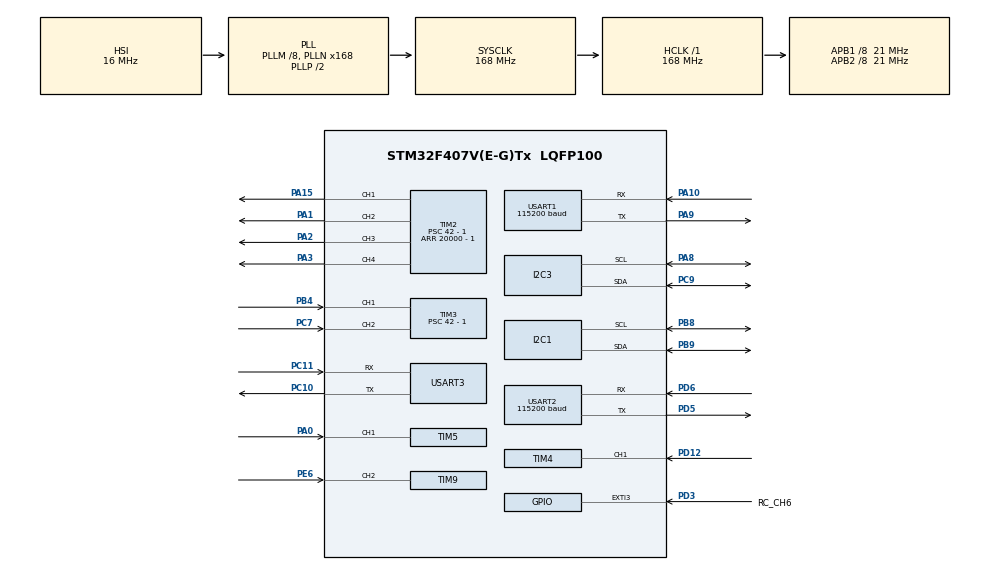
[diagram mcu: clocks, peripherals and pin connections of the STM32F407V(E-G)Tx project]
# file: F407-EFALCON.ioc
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Dma.Request0=USART2_RX
Dma.Request1=USART3_RX
Dma.Request2=USART1_RX
Dma.USART1_RX.2.Direction=DMA_PERIPH_TO_MEMORY
Dma.USART1_RX.2.FIFOMode=DMA_FIFOMODE_DISABLE
Dma.USART1_RX.2.Instance=DMA2_Stream2
Dma.USART1_RX.2.MemDataAlignment=DMA_MDATAALIGN_BYTE
Dma.USART1_RX.2.MemInc=DMA_MINC_ENABLE
Dma.USART1_RX.2.Mode=DMA_CIRCULAR
Dma.USART1_RX.2.PeriphDataAlignment=DMA_PDATAALIGN_BYTE
Dma.USART1_RX.2.PeriphInc=DMA_PINC_DISABLE
Dma.USART1_RX.2.Priority=DMA_PRIORITY_LOW
Dma.USART2_RX.0.Direction=DMA_PERIPH_TO_MEMORY
Dma.USART2_RX.0.FIFOMode=DMA_FIFOMODE_DISABLE
Dma.USART2_RX.0.Instance=DMA1_Stream5
Dma.USART2_RX.0.MemDataAlignment=DMA_MDATAALIGN_BYTE
Dma.USART2_RX.0.MemInc=DMA_MINC_ENABLE
Dma.USART2_RX.0.Mode=DMA_CIRCULAR
Dma.USART2_RX.0.PeriphDataAlignment=DMA_PDATAALIGN_BYTE
Dma.USART2_RX.0.PeriphInc=DMA_PINC_DISABLE
Dma.USART2_RX.0.Priority=DMA_PRIORITY_LOW
Dma.USART3_RX.1.Direction=DMA_PERIPH_TO_MEMORY
Dma.USART3_RX.1.FIFOMode=DMA_FIFOMODE_DISABLE
Dma.USART3_RX.1.Instance=DMA1_Stream1
Dma.USART3_RX.1.MemDataAlignment=DMA_MDATAALIGN_BYTE
Dma.USART3_RX.1.MemInc=DMA_MINC_ENABLE
Dma.USART3_RX.1.Mode=DMA_CIRCULAR
Dma.USART3_RX.1.PeriphDataAlignment=DMA_PDATAALIGN_BYTE
Dma.USART3_RX.1.PeriphInc=DMA_PINC_DISABLE
Dma.USART3_RX.1.Priority=DMA_PRIORITY_LOW
Mcu.Family=STM32F4
Mcu.Name=STM32F407V(E-G)Tx
Mcu.Package=LQFP100
NVIC.DMA1_Stream1_IRQn=true\:0\:0\:false\:false\:true\:false\:true
NVIC.DMA1_Stream5_IRQn=true\:0\:0\:false\:false\:true\:false\:true
NVIC.DMA2_Stream2_IRQn=true\:0\:0\:false\:false\:true\:false\:true
NVIC.EXTI3_IRQn=true\:0\:0\:false\:false\:true\:true\:true
NVIC.PriorityGroup=NVIC_PRIORITYGROUP_4
NVIC.TIM1_BRK_TIM9_IRQn=true\:0\:0\:false\:false\:true\:true\:true
NVIC.TIM1_UP_TIM10_IRQn=true\:2\:0\:true\:false\:true\:true\:true
NVIC.TIM2_IRQn=true\:0\:0\:false\:false\:true\:true\:true
NVIC.TIM3_IRQn=true\:0\:0\:false\:false\:true\:true\:true
NVIC.TIM4_IRQn=true\:0\:0\:false\:false\:true\:true\:true
NVIC.TIM5_IRQn=true\:0\:0\:true\:false\:true\:true\:true
NVIC.TIM7_IRQn=true\:1\:0\:true\:false\:true\:true\:true
PA0-WKUP.GPIO_PuPd=GPIO_NOPULL
PA0-WKUP.Signal=S_TIM5_CH1
PA1.GPIO_PuPd=GPIO_NOPULL
PA1.Signal=S_TIM2_CH2
PA10.GPIO_PuPd=GPIO_PULLUP
PA10.Mode=Asynchronous
PA10.Signal=USART1_RX
PA13.Mode=Serial_Wire
PA13.Signal=SYS_JTMS-SWDIO
PA14.Mode=Serial_Wire
PA14.Signal=SYS_JTCK-SWCLK
PA15.GPIO_PuPd=GPIO_NOPULL
PA15.Signal=S_TIM2_CH1_ETR
PA2.GPIO_PuPd=GPIO_NOPULL
PA2.Signal=S_TIM2_CH3
PA3.GPIO_PuPd=GPIO_NOPULL
PA3.Signal=S_TIM2_CH4
PA8.Mode=I2C
PA8.Signal=I2C3_SCL
PA9.Mode=Asynchronous
PA9.Signal=USART1_TX
PB4.GPIO_PuPd=GPIO_NOPULL
PB4.Signal=S_TIM3_CH1
PB8.Mode=I2C
PB8.Signal=I2C1_SCL
PB9.Mode=I2C
PB9.Signal=I2C1_SDA
PC10.Mode=Asynchronous
PC10.Signal=USART3_TX
PC11.Mode=Asynchronous
PC11.Signal=USART3_RX
PC7.GPIO_PuPd=GPIO_NOPULL
PC7.Signal=S_TIM3_CH2
PC9.Mode=I2C
PC9.Signal=I2C3_SDA
PD12.GPIO_PuPd=GPIO_NOPULL
PD12.Signal=S_TIM4_CH1
PD3.GPIO_Label=RC_CH6
PD3.GPIO_ModeDefaultEXTI=GPIO_MODE_IT_RISING_FALLING
PD3.GPIO_PuPd=GPIO_PULLDOWN
PD3.Signal=GPXTI3
PD5.Mode=Asynchronous
PD5.Signal=USART2_TX
PD6.GPIO_PuPd=GPIO_PULLUP
PD6.Mode=Asynchronous
PD6.Signal=USART2_RX
PE6.GPIO_PuPd=GPIO_NOPULL
PE6.Signal=S_TIM9_CH2
PH0-OSC_IN.Mode=HSE-External-Oscillator
PH0-OSC_IN.Signal=RCC_OSC_IN
PH1-OSC_OUT.Mode=HSE-External-Oscillator
PH1-OSC_OUT.Signal=RCC_OSC_OUT
ProjectManager.HeapSize=0x200
ProjectManager.StackSize=0x400
ProjectManager.TargetToolchain=STM32CubeIDE
RCC.48MHZClocksFreq_Value=84000000
RCC.AHBFreq_Value=168000000
RCC.APB1CLKDivider=RCC_HCLK_DIV8
RCC.APB1Freq_Value=21000000
RCC.APB1TimFreq_Value=42000000
RCC.APB2CLKDivider=RCC_HCLK_DIV8
RCC.APB2Freq_Value=21000000
RCC.APB2TimFreq_Value=42000000
RCC.CortexFreq_Value=168000000
RCC.HCLKFreq_Value=168000000
RCC.HSE_VALUE=16000000
RCC.HSI_VALUE=16000000
RCC.LSE_VALUE=32768
RCC.PLLM=8
RCC.PLLN=168
RCC.SYSCLKFreq_VALUE=168000000
RCC.SYSCLKSource=RCC_SYSCLKSOURCE_PLLCLK
RCC.VCOOutputFreq_Value=336000000
SH.S_TIM2_CH1_ETR.0=TIM2_CH1,PWM Generation1 CH1
SH.S_TIM2_CH2.0=TIM2_CH2,PWM Generation2 CH2
SH.S_TIM2_CH3.0=TIM2_CH3,PWM Generation3 CH3
SH.S_TIM2_CH4.0=TIM2_CH4,PWM Generation4 CH4
SH.S_TIM3_CH1.0=TIM3_CH1,Input_Capture1_from_TI1
SH.S_TIM3_CH2.0=TIM3_CH2,Input_Capture2_from_TI2
SH.S_TIM4_CH1.0=TIM4_CH1,Input_Capture1_from_TI1
SH.S_TIM5_CH1.0=TIM5_CH1,Input_Capture1_from_TI1
SH.S_TIM9_CH2.0=TIM9_CH2,Input_Capture2_from_TI2
TIM10.Period=15 - 1
TIM10.Prescaler=42000 - 1
TIM2.Channel-PWM\ Generation1\ CH1=TIM_CHANNEL_1
TIM2.Channel-PWM\ Generation2\ CH2=TIM_CHANNEL_2
TIM2.Channel-PWM\ Generation3\ CH3=TIM_CHANNEL_3
TIM2.Channel-PWM\ Generation4\ CH4=TIM_CHANNEL_4
TIM2.Period=20000 - 1
TIM2.Prescaler=42 - 1
TIM2.Pulse-PWM\ Generation1\ CH1=2000 - 1
TIM2.Pulse-PWM\ Generation2\ CH2=2000 - 1
TIM2.Pulse-PWM\ Generation3\ CH3=2000 - 1
TIM2.Pulse-PWM\ Generation4\ CH4=2000 - 1
TIM3.AutoReloadPreload=TIM_AUTORELOAD_PRELOAD_DISABLE
TIM3.Channel-Input_Capture1_from_TI1=TIM_CHANNEL_1
TIM3.Channel-Input_Capture2_from_TI2=TIM_CHANNEL_2
TIM3.Period=0xFFFF
TIM3.Prescaler=42 - 1
TIM4.Channel-Input_Capture1_from_TI1=TIM_CHANNEL_1
TIM4.Period=0xFFFF
TIM4.Prescaler=42 - 1
TIM5.Channel-Input_Capture1_from_TI1=TIM_CHANNEL_1
TIM5.Period=0xFFFF
TIM5.Prescaler=42 - 1
TIM6.Period=0xFFFF
TIM6.Prescaler=42 - 1
TIM7.Period=10
TIM7.Prescaler=42000 - 1
TIM9.Channel-Input_Capture2_from_TI2=TIM_CHANNEL_2
TIM9.Period=0xFFFF
TIM9.Prescaler=42 - 1
USART1.BaudRate=115200
USART1.VirtualMode=VM_ASYNC
USART2.BaudRate=115200
USART2.VirtualMode=VM_ASYNC
USART3.VirtualMode=VM_ASYNC
VP_TIM10_VS_ClockSourceINT.Mode=Enable_Timer
VP_TIM2_VS_ClockSourceINT.Mode=Internal
VP_TIM3_VS_ClockSourceINT.Mode=Internal
VP_TIM4_VS_ClockSourceINT.Mode=Internal
VP_TIM5_VS_ClockSourceINT.Mode=Internal
VP_TIM6_VS_ClockSourceINT.Mode=Enable_Timer
VP_TIM7_VS_ClockSourceINT.Mode=Enable_Timer
VP_TIM9_VS_ClockSourceINT.Mode=Internal
board=custom

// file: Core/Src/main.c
/* USER CODE BEGIN Header */
/**
  ******************************************************************************
  * @file           : main.c
  * @brief          : Main program body
  ******************************************************************************
  * @attention
  *
  * <h2><center>&copy; Copyright (c) 2020 STMicroelectronics.
  * All rights reserved.</center></h2>
  *
  * This software component is licensed by ST under BSD 3-Clause license,
  * the "License"; You may not use this file except in compliance with the
  * License. You may obtain a copy of the License at:
  *                        opensource.org/licenses/BSD-3-Clause
  *
  ******************************************************************************
  */
/* USER CODE END Header */
#include "main.h"

/* USER CODE BEGIN Includes */
#include <string.h>
#include <stdio.h>
#include <stdlib.h>
#include <stdbool.h>

#include "bmp280.h"
#include "Kalman.h"
#include "HMC5883L.h"
#include "pid.h"
#include "I2Cdev.h"
/* USER CODE END Includes */

/* USER CODE BEGIN PD */
#define ESC_PWM_MIN 1000
#define ESC_PWM_MAX 2000
/* USER CODE END PD */

I2C_HandleTypeDef hi2c1;
I2C_HandleTypeDef hi2c3;

TIM_HandleTypeDef htim2;
TIM_HandleTypeDef htim3;
TIM_HandleTypeDef htim4;
TIM_HandleTypeDef htim5;
TIM_HandleTypeDef htim6;
TIM_HandleTypeDef htim7;
TIM_HandleTypeDef htim9;
TIM_HandleTypeDef htim10;

UART_HandleTypeDef huart1;
UART_HandleTypeDef huart2;
UART_HandleTypeDef huart3;
DMA_HandleTypeDef hdma_usart1_rx;
DMA_HandleTypeDef hdma_usart2_rx;
DMA_HandleTypeDef hdma_usart3_rx;

/* USER CODE BEGIN PV */
BMP280_HandleTypedef bmp280;
uint8_t buffer[200];
uint16_t strSize;
uint8_t IMUBuffer[16];

bool GPSDataStatus;
bool IMUDataStatus;
int dutyCycle = ESC_PWM_MIN;
float pressureRef = 0;
bool bme280p;
bool RisingEdge = 1, FallingEdge = 0;
int16_t x_heading, y_heading, z_heading;
float altitude;
char latitude[20];
char longitude[20];

uint8_t gps_rx_buf[GPS_BUF_SIZE];
uint8_t GPSBuffer[GPS_BUF_SIZE];

uint32_t w_output[4];
uint8_t SerialData[10];
Kalman_t kalman_altitude;

char lat[20];
char lat_a;
char lon[20];
char lon_a;

PWM_DATA RC_CH1, RC_CH2, RC_CH3, RC_CH4, RC_CH5, RC_CH6;

IMU_DATA IMU_Data;
float pitchRef = 0, yawRef = 0, rollRef = 0;
FLY_MODE fly_mode;

/* USER CODE END PV */

void SystemClock_Config(void);
static void MX_GPIO_Init(void);
static void MX_DMA_Init(void);
static void MX_I2C1_Init(void);
static void MX_USART1_UART_Init(void);
static void MX_USART3_UART_Init(void);
static void MX_USART2_UART_Init(void);
static void MX_TIM3_Init(void);
static void MX_I2C3_Init(void);
static void MX_TIM2_Init(void);
static void MX_TIM4_Init(void);
static void MX_TIM5_Init(void);
static void MX_TIM9_Init(void);
static void MX_TIM7_Init(void);
static void MX_TIM6_Init(void);
static void MX_TIM10_Init(void);
/* USER CODE BEGIN PFP */

void ESCInit();
void setPWM(TIM_HandleTypeDef htim, uint32_t channel, uint32_t dutyCycle);
void BMPInit();
void IMUInit();
void GPSInit();
void RemoteInit();
void CompassInit();
void setPWM_DATA(PWM_DATA* pwm_data);
void initPWM_DATA(PWM_DATA* pwm_data, TIM_HandleTypeDef *htim, uint32_t channel);
void getIMUData(IMU_DATA *IMU_Data);
void getGPSLatLon();
void getCompass();
void getBMPAltitude();
/* USER CODE END PFP */

int main(void)
{

  /* MCU Configuration--------------------------------------------------------*/

  /* Reset of all peripherals, Initializes the Flash interface and the Systick. */
  HAL_Init();

  /* Configure the system clock */
  SystemClock_Config();

  /* Initialize all configured peripherals */
  MX_GPIO_Init();
  MX_DMA_Init();
  MX_I2C1_Init();
  MX_USART1_UART_Init();
  MX_USART3_UART_Init();
  MX_USART2_UART_Init();
  MX_TIM3_Init();
  MX_I2C3_Init();
  MX_TIM2_Init();
  MX_TIM4_Init();
  MX_TIM5_Init();
  MX_TIM9_Init();
  MX_TIM7_Init();
  MX_TIM6_Init();
  MX_TIM10_Init();
  /* USER CODE BEGIN 2 */

  /*PIDControl(&PIDRoll, (float)IMU_Data->ROLL, RC_CH2.DutyCycleVal);
  PIDControl(&PIDPitch, (float)IMU_Data->PITCH, RC_CH1.DutyCycleVal);
  PIDControl(&PIDYaw, (float)IMU_Data->YAW, RC_CH4.DutyCycleVal);*/

  //init sensor

  CompassInit();
  BMPInit();
  GPSInit();
  IMUInit();

  //Remote init
  RemoteInit();

  //Inisialisasi PID
  //ROLL
  PIDInit(&PIDRoll, 0.0300, 0.0080, 0.0065, 0.01);//d=0.01 p=0.045 i = 0.4
  //PITCH
  PIDInit(&PIDPitch,  0.0300, 0.0080, 0.0065, 0.01); //kp = 1, kd = 1, ki = 1, timesampling = 0.04
  //YAW
  PIDInit(&PIDYaw, 0.125f, 0.0f, 0.005f, 0.01); //kp = 1, kd = 1, ki = 1, timesampling = 0.04

  ESCInit();

  HAL_TIM_Base_Start_IT(&htim10);

  HAL_UART_Receive_DMA(&huart1, SerialData, 10);

  strSize = sprintf((char*)buffer, "Mulai\r\n");
  HAL_UART_Transmit(&huart1, buffer, strSize, 10);
  /* USER CODE END 2 */

  /* Infinite loop */
  /* USER CODE BEGIN WHILE */
  while (1) {
	  if(inputFlyMode >= 1000 && inputFlyMode <= 1050 && fly_mode != FLY_MODE_OFF){
		  HAL_TIM_Base_Stop_IT(&htim7);
		  fly_mode = FLY_MODE_OFF;
		  PIDReset(&PIDRoll);
		  PIDReset(&PIDPitch);
		  PIDReset(&PIDYaw);
		  pulseESC1 = pulseESC2 = pulseESC3 = pulseESC4 = 1000;
		  strSize = sprintf((char*)buffer, "Wahana Mode Off\r\n");
		  HAL_UART_Transmit(&huart1, buffer, strSize, 10);
	  } else if(inputFlyMode >= 1450 && inputFlyMode <= 1550 && fly_mode != FLY_MODE_ON){
		  fly_mode = FLY_MODE_ON;
		  strSize = sprintf((char*)buffer, "Wahana Mode On\r\n");
		  HAL_UART_Transmit(&huart1, buffer, strSize, 10);
		  HAL_TIM_Base_Start_IT(&htim7);
	  } else if(inputFlyMode >= 1900 && inputFlyMode <= 2000 && fly_mode != FLY_MODE_HOLD){
		  fly_mode = FLY_MODE_HOLD;
		  strSize = sprintf((char*)buffer, "Wahana Mode Hold\r\n");
		  HAL_UART_Transmit(&huart1, buffer, strSize, 10);
	  }

	  //strSize = sprintf((char*)buffer, "ESC1: %d\tESC2: %d\tESC3: %d\tESC4: %d\r\n", pulseESC1, pulseESC2, pulseESC3, pulseESC4);
	  //HAL_UART_Transmit(&huart1, buffer, strSize, 100);

	  //strSize = sprintf((char*)buffer, "YAW: %.2f\tPitch: %.2f\tRoll: %.2f\tThrottle: %d\r\n", inputYaw, inputPitch, inputRoll, inputThrottle);
	  //HAL_UART_Transmit(&huart1, buffer, strSize, 100);

	  //strSize = sprintf((char*)buffer, "YAW: %f\tPITCH: %f\tROLL: %f\r\n", sensorYaw, sensorPitch, sensorRoll);
	  //HAL_UART_Transmit(&huart1, buffer, strSize, 10);

	  getIMUData(&IMU_Data);
    /* USER CODE END WHILE */

  }
}

void SystemClock_Config(void)
{
  RCC_OscInitTypeDef RCC_OscInitStruct = {0};
  RCC_ClkInitTypeDef RCC_ClkInitStruct = {0};

  /** Configure the main internal regulator output voltage
  */
  __HAL_RCC_PWR_CLK_ENABLE();
  __HAL_PWR_VOLTAGESCALING_CONFIG(PWR_REGULATOR_VOLTAGE_SCALE1);
  /** Initializes the RCC Oscillators according to the specified parameters
  * in the RCC_OscInitTypeDef structure.
  */
  RCC_OscInitStruct.OscillatorType = RCC_OSCILLATORTYPE_HSI;
  RCC_OscInitStruct.HSIState = RCC_HSI_ON;
  RCC_OscInitStruct.HSICalibrationValue = RCC_HSICALIBRATION_DEFAULT;
  RCC_OscInitStruct.PLL.PLLState = RCC_PLL_ON;
  RCC_OscInitStruct.PLL.PLLSource = RCC_PLLSOURCE_HSI;
  RCC_OscInitStruct.PLL.PLLM = 8;
  RCC_OscInitStruct.PLL.PLLN = 168;
  RCC_OscInitStruct.PLL.PLLP = RCC_PLLP_DIV2;
  RCC_OscInitStruct.PLL.PLLQ = 4;
  if (HAL_RCC_OscConfig(&RCC_OscInitStruct) != HAL_OK)
  {
    Error_Handler();
  }
  /** Initializes the CPU, AHB and APB buses clocks
  */
  RCC_ClkInitStruct.ClockType = RCC_CLOCKTYPE_HCLK|RCC_CLOCKTYPE_SYSCLK
                              |RCC_CLOCKTYPE_PCLK1|RCC_CLOCKTYPE_PCLK2;
  RCC_ClkInitStruct.SYSCLKSource = RCC_SYSCLKSOURCE_PLLCLK;
  RCC_ClkInitStruct.AHBCLKDivider = RCC_SYSCLK_DIV1;
  RCC_ClkInitStruct.APB1CLKDivider = RCC_HCLK_DIV8;
  RCC_ClkInitStruct.APB2CLKDivider = RCC_HCLK_DIV8;

  if (HAL_RCC_ClockConfig(&RCC_ClkInitStruct, FLASH_LATENCY_5) != HAL_OK)
  {
    Error_Handler();
  }
}

static void MX_I2C1_Init(void)
{

  hi2c1.Instance = I2C1;
  hi2c1.Init.ClockSpeed = 100000;
  hi2c1.Init.DutyCycle = I2C_DUTYCYCLE_2;
  hi2c1.Init.OwnAddress1 = 0;
  hi2c1.Init.AddressingMode = I2C_ADDRESSINGMODE_7BIT;
  hi2c1.Init.DualAddressMode = I2C_DUALADDRESS_DISABLE;
  hi2c1.Init.OwnAddress2 = 0;
  hi2c1.Init.GeneralCallMode = I2C_GENERALCALL_DISABLE;
  hi2c1.Init.NoStretchMode = I2C_NOSTRETCH_DISABLE;
  if (HAL_I2C_Init(&hi2c1) != HAL_OK)
  {
    Error_Handler();
  }

}

static void MX_I2C3_Init(void)
{

  hi2c3.Instance = I2C3;
  hi2c3.Init.ClockSpeed = 100000;
  hi2c3.Init.DutyCycle = I2C_DUTYCYCLE_2;
  hi2c3.Init.OwnAddress1 = 0;
  hi2c3.Init.AddressingMode = I2C_ADDRESSINGMODE_7BIT;
  hi2c3.Init.DualAddressMode = I2C_DUALADDRESS_DISABLE;
  hi2c3.Init.OwnAddress2 = 0;
  hi2c3.Init.GeneralCallMode = I2C_GENERALCALL_DISABLE;
  hi2c3.Init.NoStretchMode = I2C_NOSTRETCH_DISABLE;
  if (HAL_I2C_Init(&hi2c3) != HAL_OK)
  {
    Error_Handler();
  }

}

static void MX_TIM2_Init(void)
{

  TIM_ClockConfigTypeDef sClockSourceConfig = {0};
  TIM_MasterConfigTypeDef sMasterConfig = {0};
  TIM_OC_InitTypeDef sConfigOC = {0};

  htim2.Instance = TIM2;
  htim2.Init.Prescaler = 42 - 1;
  htim2.Init.CounterMode = TIM_COUNTERMODE_UP;
  htim2.Init.Period = 20000 - 1;
  htim2.Init.ClockDivision = TIM_CLOCKDIVISION_DIV1;
  htim2.Init.AutoReloadPreload = TIM_AUTORELOAD_PRELOAD_DISABLE;
  if (HAL_TIM_Base_Init(&htim2) != HAL_OK)
  {
    Error_Handler();
  }
  sClockSourceConfig.ClockSource = TIM_CLOCKSOURCE_INTERNAL;
  if (HAL_TIM_ConfigClockSource(&htim2, &sClockSourceConfig) != HAL_OK)
  {
    Error_Handler();
  }
  if (HAL_TIM_PWM_Init(&htim2) != HAL_OK)
  {
    Error_Handler();
  }
  sMasterConfig.MasterOutputTrigger = TIM_TRGO_RESET;
  sMasterConfig.MasterSlaveMode = TIM_MASTERSLAVEMODE_DISABLE;
  if (HAL_TIMEx_MasterConfigSynchronization(&htim2, &sMasterConfig) != HAL_OK)
  {
    Error_Handler();
  }
  sConfigOC.OCMode = TIM_OCMODE_PWM1;
  sConfigOC.Pulse = 2000 - 1;
  sConfigOC.OCPolarity = TIM_OCPOLARITY_HIGH;
  sConfigOC.OCFastMode = TIM_OCFAST_DISABLE;
  if (HAL_TIM_PWM_ConfigChannel(&htim2, &sConfigOC, TIM_CHANNEL_1) != HAL_OK)
  {
    Error_Handler();
  }
  if (HAL_TIM_PWM_ConfigChannel(&htim2, &sConfigOC, TIM_CHANNEL_2) != HAL_OK)
  {
    Error_Handler();
  }
  if (HAL_TIM_PWM_ConfigChannel(&htim2, &sConfigOC, TIM_CHANNEL_3) != HAL_OK)
  {
    Error_Handler();
  }
  if (HAL_TIM_PWM_ConfigChannel(&htim2, &sConfigOC, TIM_CHANNEL_4) != HAL_OK)
  {
    Error_Handler();
  }
  HAL_TIM_MspPostInit(&htim2);

}

static void MX_TIM3_Init(void)
{

  TIM_ClockConfigTypeDef sClockSourceConfig = {0};
  TIM_MasterConfigTypeDef sMasterConfig = {0};
  TIM_IC_InitTypeDef sConfigIC = {0};

  htim3.Instance = TIM3;
  htim3.Init.Prescaler = 42 - 1;
  htim3.Init.CounterMode = TIM_COUNTERMODE_UP;
  htim3.Init.Period = 0xFFFF;
  htim3.Init.ClockDivision = TIM_CLOCKDIVISION_DIV1;
  htim3.Init.AutoReloadPreload = TIM_AUTORELOAD_PRELOAD_DISABLE;
  if (HAL_TIM_Base_Init(&htim3) != HAL_OK)
  {
    Error_Handler();
  }
  sClockSourceConfig.ClockSource = TIM_CLOCKSOURCE_INTERNAL;
  if (HAL_TIM_ConfigClockSource(&htim3, &sClockSourceConfig) != HAL_OK)
  {
    Error_Handler();
  }
  if (HAL_TIM_IC_Init(&htim3) != HAL_OK)
  {
    Error_Handler();
  }
  sMasterConfig.MasterOutputTrigger = TIM_TRGO_RESET;
  sMasterConfig.MasterSlaveMode = TIM_MASTERSLAVEMODE_DISABLE;
  if (HAL_TIMEx_MasterConfigSynchronization(&htim3, &sMasterConfig) != HAL_OK)
  {
    Error_Handler();
  }
  sConfigIC.ICPolarity = TIM_INPUTCHANNELPOLARITY_RISING;
  sConfigIC.ICSelection = TIM_ICSELECTION_DIRECTTI;
  sConfigIC.ICPrescaler = TIM_ICPSC_DIV1;
  sConfigIC.ICFilter = 0;
  if (HAL_TIM_IC_ConfigChannel(&htim3, &sConfigIC, TIM_CHANNEL_1) != HAL_OK)
  {
    Error_Handler();
  }
  if (HAL_TIM_IC_ConfigChannel(&htim3, &sConfigIC, TIM_CHANNEL_2) != HAL_OK)
  {
    Error_Handler();
  }

}

static void MX_TIM4_Init(void)
{

  TIM_ClockConfigTypeDef sClockSourceConfig = {0};
  TIM_MasterConfigTypeDef sMasterConfig = {0};
  TIM_IC_InitTypeDef sConfigIC = {0};

  htim4.Instance = TIM4;
  htim4.Init.Prescaler = 42 - 1;
  htim4.Init.CounterMode = TIM_COUNTERMODE_UP;
  htim4.Init.Period = 0xFFFF;
  htim4.Init.ClockDivision = TIM_CLOCKDIVISION_DIV1;
  htim4.Init.AutoReloadPreload = TIM_AUTORELOAD_PRELOAD_DISABLE;
  if (HAL_TIM_Base_Init(&htim4) != HAL_OK)
  {
    Error_Handler();
  }
  sClockSourceConfig.ClockSource = TIM_CLOCKSOURCE_INTERNAL;
  if (HAL_TIM_ConfigClockSource(&htim4, &sClockSourceConfig) != HAL_OK)
  {
    Error_Handler();
  }
  if (HAL_TIM_IC_Init(&htim4) != HAL_OK)
  {
    Error_Handler();
  }
  sMasterConfig.MasterOutputTrigger = TIM_TRGO_RESET;
  sMasterConfig.MasterSlaveMode = TIM_MASTERSLAVEMODE_DISABLE;
  if (HAL_TIMEx_MasterConfigSynchronization(&htim4, &sMasterConfig) != HAL_OK)
  {
    Error_Handler();
  }
  sConfigIC.ICPolarity = TIM_INPUTCHANNELPOLARITY_RISING;
  sConfigIC.ICSelection = TIM_ICSELECTION_DIRECTTI;
  sConfigIC.ICPrescaler = TIM_ICPSC_DIV1;
  sConfigIC.ICFilter = 0;
  if (HAL_TIM_IC_ConfigChannel(&htim4, &sConfigIC, TIM_CHANNEL_1) != HAL_OK)
  {
    Error_Handler();
  }

}

static void MX_TIM5_Init(void)
{

  TIM_ClockConfigTypeDef sClockSourceConfig = {0};
  TIM_MasterConfigTypeDef sMasterConfig = {0};
  TIM_IC_InitTypeDef sConfigIC = {0};

  htim5.Instance = TIM5;
  htim5.Init.Prescaler = 42 - 1;
  htim5.Init.CounterMode = TIM_COUNTERMODE_UP;
  htim5.Init.Period = 0xFFFF;
  htim5.Init.ClockDivision = TIM_CLOCKDIVISION_DIV1;
  htim5.Init.AutoReloadPreload = TIM_AUTORELOAD_PRELOAD_DISABLE;
  if (HAL_TIM_Base_Init(&htim5) != HAL_OK)
  {
    Error_Handler();
  }
  sClockSourceConfig.ClockSource = TIM_CLOCKSOURCE_INTERNAL;
  if (HAL_TIM_ConfigClockSource(&htim5, &sClockSourceConfig) != HAL_OK)
  {
    Error_Handler();
  }
  if (HAL_TIM_IC_Init(&htim5) != HAL_OK)
  {
    Error_Handler();
  }
  sMasterConfig.MasterOutputTrigger = TIM_TRGO_RESET;
  sMasterConfig.MasterSlaveMode = TIM_MASTERSLAVEMODE_DISABLE;
  if (HAL_TIMEx_MasterConfigSynchronization(&htim5, &sMasterConfig) != HAL_OK)
  {
    Error_Handler();
  }
  sConfigIC.ICPolarity = TIM_INPUTCHANNELPOLARITY_RISING;
  sConfigIC.ICSelection = TIM_ICSELECTION_DIRECTTI;
  sConfigIC.ICPrescaler = TIM_ICPSC_DIV1;
  sConfigIC.ICFilter = 0;
  if (HAL_TIM_IC_ConfigChannel(&htim5, &sConfigIC, TIM_CHANNEL_1) != HAL_OK)
  {
    Error_Handler();
  }

}

static void MX_TIM6_Init(void)
{

  TIM_MasterConfigTypeDef sMasterConfig = {0};

  htim6.Instance = TIM6;
  htim6.Init.Prescaler = 42 - 1;
  htim6.Init.CounterMode = TIM_COUNTERMODE_UP;
  htim6.Init.Period = 0xFFFF;
  htim6.Init.AutoReloadPreload = TIM_AUTORELOAD_PRELOAD_DISABLE;
  if (HAL_TIM_Base_Init(&htim6) != HAL_OK)
  {
    Error_Handler();
  }
  sMasterConfig.MasterOutputTrigger = TIM_TRGO_RESET;
  sMasterConfig.MasterSlaveMode = TIM_MASTERSLAVEMODE_DISABLE;
  if (HAL_TIMEx_MasterConfigSynchronization(&htim6, &sMasterConfig) != HAL_OK)
  {
    Error_Handler();
  }

}

static void MX_TIM7_Init(void)
{

  TIM_MasterConfigTypeDef sMasterConfig = {0};

  htim7.Instance = TIM7;
  htim7.Init.Prescaler = 42000 - 1;
  htim7.Init.CounterMode = TIM_COUNTERMODE_UP;
  htim7.Init.Period = 10;
  htim7.Init.AutoReloadPreload = TIM_AUTORELOAD_PRELOAD_DISABLE;
  if (HAL_TIM_Base_Init(&htim7) != HAL_OK)
  {
    Error_Handler();
  }
  sMasterConfig.MasterOutputTrigger = TIM_TRGO_RESET;
  sMasterConfig.MasterSlaveMode = TIM_MASTERSLAVEMODE_DISABLE;
  if (HAL_TIMEx_MasterConfigSynchronization(&htim7, &sMasterConfig) != HAL_OK)
  {
    Error_Handler();
  }

}

static void MX_TIM9_Init(void)
{

  TIM_ClockConfigTypeDef sClockSourceConfig = {0};
  TIM_IC_InitTypeDef sConfigIC = {0};

  htim9.Instance = TIM9;
  htim9.Init.Prescaler = 42 - 1;
  htim9.Init.CounterMode = TIM_COUNTERMODE_UP;
  htim9.Init.Period = 0xFFFF;
  htim9.Init.ClockDivision = TIM_CLOCKDIVISION_DIV1;
  htim9.Init.AutoReloadPreload = TIM_AUTORELOAD_PRELOAD_DISABLE;
  if (HAL_TIM_Base_Init(&htim9) != HAL_OK)
  {
    Error_Handler();
  }
  sClockSourceConfig.ClockSource = TIM_CLOCKSOURCE_INTERNAL;
  if (HAL_TIM_ConfigClockSource(&htim9, &sClockSourceConfig) != HAL_OK)
  {
    Error_Handler();
  }
  if (HAL_TIM_IC_Init(&htim9) != HAL_OK)
  {
    Error_Handler();
  }
  sConfigIC.ICPolarity = TIM_INPUTCHANNELPOLARITY_RISING;
  sConfigIC.ICSelection = TIM_ICSELECTION_DIRECTTI;
  sConfigIC.ICPrescaler = TIM_ICPSC_DIV1;
  sConfigIC.ICFilter = 0;
  if (HAL_TIM_IC_ConfigChannel(&htim9, &sConfigIC, TIM_CHANNEL_2) != HAL_OK)
  {
    Error_Handler();
  }

}

static void MX_TIM10_Init(void)
{

  htim10.Instance = TIM10;
  htim10.Init.Prescaler = 42000 - 1;
  htim10.Init.CounterMode = TIM_COUNTERMODE_UP;
  htim10.Init.Period = 15 - 1;
  htim10.Init.ClockDivision = TIM_CLOCKDIVISION_DIV1;
  htim10.Init.AutoReloadPreload = TIM_AUTORELOAD_PRELOAD_DISABLE;
  if (HAL_TIM_Base_Init(&htim10) != HAL_OK)
  {
    Error_Handler();
  }

}

static void MX_USART1_UART_Init(void)
{

  huart1.Instance = USART1;
  huart1.Init.BaudRate = 115200;
  huart1.Init.WordLength = UART_WORDLENGTH_8B;
  huart1.Init.StopBits = UART_STOPBITS_1;
  huart1.Init.Parity = UART_PARITY_NONE;
  huart1.Init.Mode = UART_MODE_TX_RX;
  huart1.Init.HwFlowCtl = UART_HWCONTROL_NONE;
  huart1.Init.OverSampling = UART_OVERSAMPLING_16;
  if (HAL_UART_Init(&huart1) != HAL_OK)
  {
    Error_Handler();
  }

}

static void MX_USART2_UART_Init(void)
{

  huart2.Instance = USART2;
  huart2.Init.BaudRate = 115200;
  huart2.Init.WordLength = UART_WORDLENGTH_8B;
  huart2.Init.StopBits = UART_STOPBITS_1;
  huart2.Init.Parity = UART_PARITY_NONE;
  huart2.Init.Mode = UART_MODE_TX_RX;
  huart2.Init.HwFlowCtl = UART_HWCONTROL_NONE;
  huart2.Init.OverSampling = UART_OVERSAMPLING_16;
  if (HAL_UART_Init(&huart2) != HAL_OK)
  {
    Error_Handler();
  }

}

static void MX_USART3_UART_Init(void)
{

  huart3.Instance = USART3;
  huart3.Init.BaudRate = 115200;
  huart3.Init.WordLength = UART_WORDLENGTH_8B;
  huart3.Init.StopBits = UART_STOPBITS_1;
  huart3.Init.Parity = UART_PARITY_NONE;
  huart3.Init.Mode = UART_MODE_TX_RX;
  huart3.Init.HwFlowCtl = UART_HWCONTROL_NONE;
  huart3.Init.OverSampling = UART_OVERSAMPLING_16;
  if (HAL_UART_Init(&huart3) != HAL_OK)
  {
    Error_Handler();
  }

}

static void MX_DMA_Init(void)
{

  /* DMA controller clock enable */
  __HAL_RCC_DMA1_CLK_ENABLE();
  __HAL_RCC_DMA2_CLK_ENABLE();

  /* DMA interrupt init */
  /* DMA1_Stream1_IRQn interrupt configuration */
  HAL_NVIC_SetPriority(DMA1_Stream1_IRQn, 0, 0);
  HAL_NVIC_EnableIRQ(DMA1_Stream1_IRQn);
  /* DMA1_Stream5_IRQn interrupt configuration */
  HAL_NVIC_SetPriority(DMA1_Stream5_IRQn, 0, 0);
  HAL_NVIC_EnableIRQ(DMA1_Stream5_IRQn);
  /* DMA2_Stream2_IRQn interrupt configuration */
  HAL_NVIC_SetPriority(DMA2_Stream2_IRQn, 0, 0);
  HAL_NVIC_EnableIRQ(DMA2_Stream2_IRQn);

}

static void MX_GPIO_Init(void)
{
  GPIO_InitTypeDef GPIO_InitStruct = {0};

  /* GPIO Ports Clock Enable */
  __HAL_RCC_GPIOE_CLK_ENABLE();
  __HAL_RCC_GPIOH_CLK_ENABLE();
  __HAL_RCC_GPIOA_CLK_ENABLE();
  __HAL_RCC_GPIOD_CLK_ENABLE();
  __HAL_RCC_GPIOC_CLK_ENABLE();
  __HAL_RCC_GPIOB_CLK_ENABLE();

  /*Configure GPIO pin : RC_CH6_Pin */
  GPIO_InitStruct.Pin = RC_CH6_Pin;
  GPIO_InitStruct.Mode = GPIO_MODE_IT_RISING_FALLING;
  GPIO_InitStruct.Pull = GPIO_PULLDOWN;
  HAL_GPIO_Init(RC_CH6_GPIO_Port, &GPIO_InitStruct);

  /* EXTI interrupt init*/
  HAL_NVIC_SetPriority(EXTI3_IRQn, 0, 0);
  HAL_NVIC_EnableIRQ(EXTI3_IRQn);

}

/* USER CODE BEGIN 4 */

void initPWM_DATA(PWM_DATA* pwm_data, TIM_HandleTypeDef *htim, uint32_t channel){
	pwm_data->onFallingEdge = false;
	pwm_data->onRisingEdge = true;
	pwm_data->channel = channel;
	pwm_data->htim = htim;
}

void setPWM(TIM_HandleTypeDef htim, uint32_t channel, uint32_t dutyCycle){
	__HAL_TIM_SET_COMPARE(&htim, channel, dutyCycle);
}

void ESCInit(){
	HAL_TIM_PWM_Start(&htim2, TIM_CHANNEL_1);
	HAL_TIM_PWM_Start(&htim2, TIM_CHANNEL_2);
	HAL_TIM_PWM_Start(&htim2, TIM_CHANNEL_3);
	HAL_TIM_PWM_Start(&htim2, TIM_CHANNEL_4);
	setPWM(htim2, TIM_CHANNEL_1, ESC_PWM_MAX);
	setPWM(htim2, TIM_CHANNEL_2, ESC_PWM_MAX);
	setPWM(htim2, TIM_CHANNEL_3, ESC_PWM_MAX);
	setPWM(htim2, TIM_CHANNEL_4, ESC_PWM_MAX);
	HAL_Delay(2000);
	setPWM(htim2, TIM_CHANNEL_1, ESC_PWM_MIN);
	setPWM(htim2, TIM_CHANNEL_2, ESC_PWM_MIN);
	setPWM(htim2, TIM_CHANNEL_3, ESC_PWM_MIN);
	setPWM(htim2, TIM_CHANNEL_4, ESC_PWM_MIN);
	HAL_Delay(2000);
}

void BMPInit(){
	kalman_init(&kalman_altitude, 0.1, 0.1, 0.03);
	bmp280_init_default_params(&bmp280.params);
	bmp280.addr = BMP280_I2C_ADDRESS_0;
	bmp280.i2c = &hi2c1;

	while(!bmp280_init(&bmp280, &bmp280.params)){
		strSize = sprintf((char*)buffer, "BMP280 initialization failed\r\n");
		HAL_UART_Transmit(&huart1, buffer, strSize, 1000);
		HAL_Delay(50);
	}
	HAL_Delay(1000);
	bme280p = bmp280.id == BME280_CHIP_ID;
	strSize = sprintf((char*)buffer, "BMP280: found %s\r\n", bme280p ? "BME280" : "BMP280");
	HAL_UART_Transmit(&huart1, buffer, strSize, 1000);

	strSize = sprintf((char*)buffer, "Calibrating.\r\n");
	HAL_UART_Transmit(&huart1, buffer, strSize, 10);

	float pres_total = 0;
	float pressure, temperature, humidity;

	for(int i = 0; i < 100; ++i){
		while(bmp280_is_measuring(&bmp280)) continue;
		bmp280_read_float(&bmp280, &temperature, &pressure, &humidity);
		HAL_UART_Transmit(&huart1, (uint8_t*)".", 1, 10);
		pres_total = pres_total + pressure;
	}

	pressureRef = pres_total / 100;
	strSize = sprintf((char*)buffer,"Done!\r\n");
	HAL_UART_Transmit(&huart1, buffer, strSize, 10);
	HAL_Delay(1000);
}

void GPSInit(){
	  //__HAL_UART_ENABLE_IT(&huart3, UART_IT_IDLE);

	  if(HAL_UART_Receive_DMA(&huart3, gps_rx_buf, GPS_BUF_SIZE) != HAL_OK){
		  Error_Handler();
	  }

	  __HAL_DMA_DISABLE_IT(huart3.hdmarx, DMA_IT_HT);

	  strSize = sprintf((char*)buffer, "GPS Done!\r\n");
	  HAL_UART_Transmit(&huart1, buffer, strSize, 10);
}

void CompassInit(){
	I2Cdev_init(&hi2c3);

	HMC5883L_initialize();
	while(!HMC5883L_testConnection()){
		strSize = sprintf((char*)buffer, "Inisialisasi HMC5883L gagal!\r\n");
		HAL_UART_Transmit(&huart1, buffer, strSize, 10);
		HAL_Delay(10);
	}
	strSize = sprintf((char*)buffer, "HMC5883L Sukses!\r\n");
	HAL_UART_Transmit(&huart1, buffer, strSize, 10);
}

void RemoteInit(){
	  fly_mode = FLY_MODE_OFF;
	  strSize = sprintf((char*)buffer, "Wahana Mode Off\r\n");
	  HAL_UART_Transmit(&huart1, buffer, strSize, 10);

	  initPWM_DATA(&RC_CH1, &htim3, TIM_CHANNEL_2);
	  initPWM_DATA(&RC_CH2, &htim9, TIM_CHANNEL_2);
	  initPWM_DATA(&RC_CH3, &htim5, TIM_CHANNEL_1);
	  initPWM_DATA(&RC_CH4, &htim3, TIM_CHANNEL_1);
	  initPWM_DATA(&RC_CH5, &htim4, TIM_CHANNEL_1);
	  initPWM_DATA(&RC_CH6, &htim6, 0);

	  HAL_TIM_IC_Start_IT(RC_CH1.htim, RC_CH1.channel);
	  HAL_TIM_IC_Start_IT(RC_CH2.htim, RC_CH2.channel);
	  HAL_TIM_IC_Start_IT(RC_CH3.htim, RC_CH3.channel);
	  HAL_TIM_IC_Start_IT(RC_CH4.htim, RC_CH4.channel);
	  HAL_TIM_IC_Start_IT(RC_CH5.htim, RC_CH5.channel);
	  HAL_TIM_Base_Start(RC_CH6.htim);
}

void IMUInit(){
	  HAL_UART_Transmit(&huart2, (u_char*)0xA5, 1, 10);
	  HAL_UART_Transmit(&huart2, (u_char*)0x54, 1, 10);

	  HAL_Delay(3000);
	  strSize = sprintf((char*)buffer,"Kalibrasi tilt done\r\n");
	  HAL_UART_Transmit(&huart1, buffer, strSize, 100);

	  //Kalibrasi heading
	  HAL_UART_Transmit(&huart2, (u_char*)0xA5, 1, 10);
	  HAL_UART_Transmit(&huart2, (u_char*)0x55, 1, 10);
	  HAL_Delay(3000);

	  strSize = sprintf((char*)buffer,"Kalibrasi heading done\r\n");
	  HAL_UART_Transmit(&huart1, buffer, strSize, 100);

	  //Konfigurasi Output ASCII
	  HAL_UART_Transmit(&huart2, (u_char*)0xA5, 1, 10);
	  HAL_UART_Transmit(&huart2, (u_char*)0x52, 1, 10);
	  HAL_Delay(1000);

	  HAL_UART_Receive_DMA(&huart2, IMUBuffer, 8);

	  float pitchTotal = 0, yawTotal = 0, rollTotal = 0;

	  int i = 0;
	  while(i < 100){
		  if(IMUDataStatus){
			  i += 1;
			  getIMUData(&IMU_Data);
			  pitchTotal += IMU_Data.PITCH;
			  yawTotal += IMU_Data.YAW;
			  rollTotal += IMU_Data.ROLL;
		  } else continue;
	  }
	  pitchRef = pitchTotal / 100;
	  yawRef = yawTotal / 100;
	  rollRef = rollTotal / 100;
}

void getBMPAltitude(){
	if(!bmp280_is_measuring(&bmp280)){
		  float pressure, temperature, humidity;
		  bmp280_read_float(&bmp280, &temperature, &pressure, &humidity);
		  float altitude_reading = bmp280_read_altitude(pressure/100, pressureRef/100);
		  float estimated_altitude = kalman_updateEstimate(&kalman_altitude, altitude_reading);
		  altitude = estimated_altitude;
		  //strSize = sprintf((char*)buffer, "%f\r\n", estimated_altitude);
		  //HAL_UART_Transmit(&huart1, buffer, strSize, 1);
	}
}

void getCompass(){
	  if(HMC5883L_getReadyStatus()){
		  HMC5883L_getHeading(&x_heading, &y_heading, &z_heading);
		  //strSize = sprintf((char*)buffer, "X: %d\tY: %d\tZ: %d\r\n", x, y, z);
		  //HAL_UART_Transmit(&huart1, buffer, strSize, 100);
	  }
}

void getGPSLatLon(){
	  if(GPSDataStatus){
		  char *pointer;
		  int length = sizeof(GPSBuffer);

		  memset(lat, '\0', 20);
		  memset(lon, '\0', 20);
		  pointer = strchr((char*)GPSBuffer, '$');

		  do{
			  char *ptrstart;
			  char *ptrend;

			  if(strncmp(pointer, "$GNGGA" , 6) == 0){ //$GNGGA
				  ptrstart = (char*)memchr(pointer + 1, ',', length);
				  ptrstart = (char*)memchr(ptrstart + 1, ',', length);
				  ptrend = (char*)memchr(ptrstart + 1, ',', length);

			  } else if(strncmp(pointer, "$GNGLL", 6) == 0){ //$GNGLL
				  ptrstart = (char*)memchr(pointer + 1, ',', length);
				  ptrend = (char*)memchr(ptrstart + 1, ',', length);

			  } else if(strncmp(pointer, "$GNRMC", 6) == 0){ //$GNRMC
				  ptrstart = (char*)memchr(pointer + 1, ',', length);
				  ptrstart = (char*)memchr(ptrstart + 1, ',', length);
				  ptrstart = (char*)memchr(ptrstart + 1, ',', length);
				  ptrend = (char*)memchr(ptrstart + 1, ',', length);

			  } else {
				  pointer = strchr(pointer + 6, '$');
				  continue;
			  }

			  for(int i = 1; i < (ptrend - ptrstart); i++) lat[i - 1] = ptrstart[i];
			  lat_a = *(ptrend + 1);

			  ptrstart = (char*)memchr(ptrend + 1, ',', length);
			  ptrend = (char*)memchr(ptrstart + 1, ',', length);

			  for(int i = 1; i < (ptrend - ptrstart); i++) lon[i - 1] = ptrstart[i];
			  lon_a = *(ptrend + 1);
			  if(lon[0] != '\0' && lat[0] != '\0'){
				  //strSize = sprintf((char*)buffer, "Lat: %s | %c\tLon: %s | %c\r\n", lat, lat_a, lon, lon_a);
				  //HAL_UART_Transmit(&huart1, buffer , strSize, 100);
				  break;
			  }
			  pointer = strchr(pointer + 4, '$');
		  }
		  while(pointer != NULL);
		  GPSDataStatus = false;
	  }
}

void getIMUData(IMU_DATA *IMU_Data){
	if(IMUDataStatus){
		  uint8_t YPR[8];
		  IMU_Data->YAW = 1000.0f, IMU_Data->PITCH = 1000.0f, IMU_Data->ROLL = 1000.0f;
		  char* buf;
		  buf = memchr(IMUBuffer, 0xAA, 8);
		  memcpy(YPR, buf, 8);
		  if(YPR[0] == 0xAA && YPR[7] == 0x55){
			  IMU_Data->YAW = (float)((YPR[1] << 8 | YPR[2]) * 0.01f);
			  if(IMU_Data->YAW > 179) IMU_Data->YAW = IMU_Data->YAW - 655;

			  sensorYaw = IMU_Data->YAW - yawRef;

			  IMU_Data->PITCH = (float)((YPR[3] << 8 | YPR[4]) * 0.01f);
			  if(IMU_Data->PITCH > 179) IMU_Data->PITCH = IMU_Data->PITCH - 655;

			  sensorPitch = IMU_Data->PITCH - pitchRef;

			  IMU_Data->ROLL = (float)((YPR[5] << 8 | YPR[6]) * 0.01f);
			  if(IMU_Data->ROLL > 179) IMU_Data->ROLL = IMU_Data->ROLL - 655;

			  sensorRoll = IMU_Data->ROLL - rollRef;

			  //strSize = sprintf((char*)buffer, "Y: %f, P: %f, R: %f\r\n", sensorYaw, sensorPitch, sensorRoll);
			  //HAL_UART_Transmit(&huart1, buffer, strSize, 100);
		  }
		  IMUDataStatus = false;
	}

}

void setPWM_DATA(PWM_DATA* pwm_data){
	if(pwm_data->onRisingEdge && !pwm_data->onFallingEdge){
		pwm_data->onRisingEdge = false;
		pwm_data->onFallingEdge = true;
		pwm_data->RisingEdgeVal = HAL_TIM_ReadCapturedValue(pwm_data->htim, pwm_data->channel);
		__HAL_TIM_SET_CAPTUREPOLARITY(pwm_data->htim, pwm_data->channel, TIM_INPUTCHANNELPOLARITY_FALLING);

	} else if(pwm_data->onFallingEdge && !pwm_data->onRisingEdge) {
		pwm_data->onFallingEdge = false;
		pwm_data->onRisingEdge =  true;
		pwm_data->FallingEdgeVal = HAL_TIM_ReadCapturedValue(pwm_data->htim, pwm_data->channel);
		__HAL_TIM_SET_CAPTUREPOLARITY(pwm_data->htim, pwm_data->channel, TIM_INPUTCHANNELPOLARITY_RISING);
	}
	if(pwm_data->FallingEdgeVal >= pwm_data->RisingEdgeVal){
		pwm_data->DutyCycleVal = pwm_data->FallingEdgeVal - pwm_data->RisingEdgeVal;
		pwm_data->FallingEdgeVal = 0;
		pwm_data->RisingEdgeVal = 0;
	}
}

void HAL_UART_RxCpltCallback(UART_HandleTypeDef *huart)
{
  /* Prevent unused argument(s) compilation warning */
  UNUSED(huart);
  /* NOTE: This function should not be modified, when the callback is needed,
           the HAL_UART_RxCpltCallback could be implemented in the user file
   */
  //HAL_UART_Transmit(&huart3, RxBuffer, 8, 100);
  if(huart->Instance == USART2 && !IMUDataStatus)
	  IMUDataStatus = true;

  if(huart->Instance == USART3){
	  memcpy(GPSBuffer, gps_rx_buf, GPS_BUF_SIZE);
	  GPSDataStatus = true;
  }

  if(huart->Instance == USART1){
	  //#pp=0.0234
	  if(SerialData[0] == '#'){
		  float input_k = strtof((char*)&SerialData[4], 0);

		  if(SerialData[1] == 'p'){
			if(SerialData[2] == 'p'){
				PIDPitch.kp = input_k;
			} else if(SerialData[2] == 'i'){
				PIDPitch.ki = input_k;
			} else if(SerialData[2] == 'd'){
				PIDPitch.kd = input_k;
			}
			  strSize = sprintf((char*)buffer, "PIDPitch: kp = %f\tki = %f\tkd = %f\r\n", PIDPitch.kp, PIDPitch.ki, PIDPitch.kd);
		  } else if(SerialData[1] == 'y'){
				if(SerialData[2] == 'p'){
					PIDYaw.kp = input_k;
				} else if(SerialData[2] == 'i'){
					PIDYaw.ki = input_k;
				} else if(SerialData[2] == 'd'){
					PIDYaw.kd = input_k;
				}
			  strSize = sprintf((char*)buffer, "PIDYaw: kp = %f\tki = %f\tkd = %f\r\n", PIDYaw.kp, PIDYaw.ki, PIDYaw.kd);
		  } else if(SerialData[1] == 'r'){
				if(SerialData[2] == 'p'){
					PIDRoll.kp = input_k;
				} else if(SerialData[2] == 'i'){
					PIDRoll.ki = input_k;
				} else if(SerialData[2] == 'd'){
					PIDRoll.kd = input_k;
				}
			  strSize = sprintf((char*)buffer, "PIDRoll: kp = %f\tki = %f\tkd = %f\r\n", PIDRoll.kp, PIDRoll.ki, PIDRoll.kd);
		  }
		  HAL_UART_Transmit(&huart1, buffer, strSize, 100);
	  }

  }

 }

void HAL_TIM_PeriodElapsedCallback(TIM_HandleTypeDef *htim){
	if(htim->Instance == TIM7 && (fly_mode == FLY_MODE_ON || fly_mode == FLY_MODE_HOLD)){
		PIDRoll.timesampling = PIDYaw.timesampling = PIDPitch.timesampling = 0.01;
		PIDControl(&PIDRoll, sensorRoll, inputRoll);
		PIDControl(&PIDPitch, sensorPitch, inputPitch);
		PIDControl(&PIDYaw, sensorYaw, inputYaw);
		trustControl();

	}else if(htim->Instance == TIM10){
		  //strSize = sprintf((char*)buffer, "YAW: %f\tPitch: %f\tRoll: %f\tThrottle: %d\r\n", inputYaw, inputPitch, inputRoll, inputThrottle);
		  //HAL_UART_Transmit(&huart1, buffer, strSize, 100);
		  //strSize = sprintf((char*)buffer, "CH1: %lu, CH2: %lu, CH3: %lu, CH4: %lu, CH5: %lu, CH6: %lu\r\n",
				 // RC_CH1.DutyCycleVal, RC_CH2.DutyCycleVal, RC_CH3.DutyCycleVal, RC_CH4.DutyCycleVal, RC_CH5.DutyCycleVal, RC_CH6.DutyCycleVal);
		  //HAL_UART_Transmit(&huart1, buffer, strSize, 100);
		  //strSize = sprintf((char*)buffer, "ESC1: %d\tESC2: %d\tESC3: %d\tESC4: %d\r\n", pulseESC1, pulseESC2, pulseESC3, pulseESC4);
		  //HAL_UART_Transmit(&huart1, buffer, strSize, 100);

		strSize = sprintf((char*)buffer, "%f %f %f\r\n", sensorRoll, sensorPitch, sensorYaw);
		HAL_UART_Transmit(&huart1, buffer, strSize, 10);
	}
}

void HAL_TIM_IC_CaptureCallback(TIM_HandleTypeDef *htim){
	if(htim == RC_CH1.htim){
		if(htim->Channel == HAL_TIM_ACTIVE_CHANNEL_2){
			setPWM_DATA(&RC_CH1);
			inputRoll = map((float)RC_CH1.DutyCycleVal, 1000, 2000, -30, 30);
			inputRoll = constrain(inputRoll, -30, 30);
		} else if(htim->Channel == HAL_TIM_ACTIVE_CHANNEL_1){
			setPWM_DATA(&RC_CH4);
			inputYaw = map((float)RC_CH4.DutyCycleVal, 1000, 2000, -30, 30);
			inputYaw = constrain(inputYaw, -30, 30);
		}
	}
	else if(htim == RC_CH2.htim){
		setPWM_DATA(&RC_CH2);
		inputPitch = map((float)RC_CH2.DutyCycleVal, 1000, 2000, -30, 30);
		inputPitch = constrain(inputPitch, -30, 30);
	}
	else if(htim == RC_CH3.htim) {
		setPWM_DATA(&RC_CH3);
		if(RC_CH3.DutyCycleVal >= 1150){
			inputThrottle = constrain(RC_CH3.DutyCycleVal, 1000, 2000);
		} else {
			RC_CH3.DutyCycleVal = 1000;
			inputThrottle = 1000;
		}
	}
	else if(htim == RC_CH5.htim) {
		setPWM_DATA(&RC_CH5);
		inputFlyMode = constrain(RC_CH5.DutyCycleVal, 1000, 2000);
	}
}

void HAL_GPIO_EXTI_Callback(uint16_t GPIO_Pin){
	if(RC_CH6.onRisingEdge && !RC_CH6.onFallingEdge){
		RC_CH6.onRisingEdge = false;
		RC_CH6.onFallingEdge = true;
		RC_CH6.RisingEdgeVal = __HAL_TIM_GET_COUNTER(RC_CH6.htim);

	} else if(RC_CH6.onFallingEdge && !RC_CH6.onRisingEdge) {
		RC_CH6.onFallingEdge = false;
		RC_CH6.onRisingEdge =  true;
		RC_CH6.FallingEdgeVal = __HAL_TIM_GET_COUNTER(RC_CH6.htim);
	}
	if(RC_CH6.FallingEdgeVal >= RC_CH6.RisingEdgeVal){
		RC_CH6.DutyCycleVal = RC_CH6.FallingEdgeVal - RC_CH6.RisingEdgeVal;
		RC_CH6.FallingEdgeVal = 0;
		RC_CH6.RisingEdgeVal = 0;
	}
}
/* USER CODE END 4 */

void Error_Handler(void)
{
}

/************************ (C) COPYRIGHT STMicroelectronics *****END OF FILE****/
